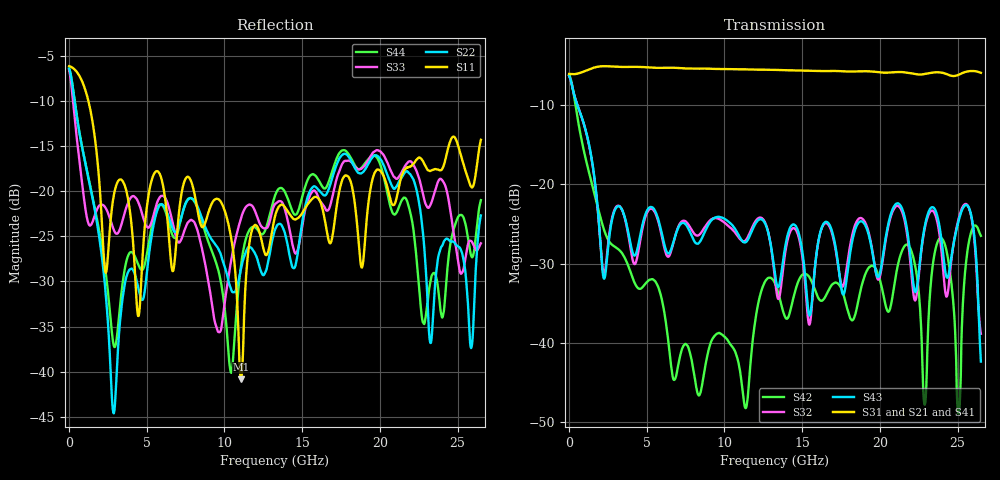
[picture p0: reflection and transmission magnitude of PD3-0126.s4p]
! MARKI MICROWAVE INC.
! Email:  info@markimicrowave.com  Phone:  408-778-4200
! Model Number:  PD3-0126  Date:  10/12
! Filename:		PD3_0126.S4P  Version: 1.0
! Description:  4-port S-parameter data for Power Divider PD3-0126
! Frequency Range: 	10 MHz to 26.5 GHz
! Port Configuration:	PORT 1: Common,
!  PORT 2, PORT 3, PORT 4: Output
! S4P File: Measurements: Mag<S11> Ang<S11> Mag<S12> Ang<S12> Mag<S13> Ang<S13> Mag<S14> Ang<S14>! row 1
!  Mag<S21> Ang<S21> Mag<S22> Ang<S22> Mag<S23> Ang<S23> Mag<S24> Ang<S24>! row 2
!  Mag<S31> Ang<S31> Mag<S32> Ang<S32> Mag<S33> Ang<S33> Mag<S34> Ang<S34>! row 3
!  Mag<S41> Ang<S41> Mag<S42> Ang<S42> Mag<S43> Ang<S43> Mag<S44> Ang<S44>! row 4
# Hz S  dB  R 50
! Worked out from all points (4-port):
!   801 points, 10 MHz to 26.5 GHz, reference 50 ohm
!   strongest paths, dB at 10 MHz, 6.633 GHz, 13.26 GHz, 19.88 GHz, 26.5 GHz:
!     S31: -6.1, -5.3, -5.6, -5.8, -5.9
!     S21: -6.0, -5.1, -5.6, -6.0, -6.6
!     S41: -6.0, -5.1, -5.6, -6.0, -6.5
!     S43: -6.3, -27.8, -31.3, -31.7, -42.4
!     S32: -6.3, -28.0, -32.0, -32.0, -38.9
!     S42: -6.2, -43.8, -32.5, -31.3, -26.5
!   lowest |S11| = -40.9 dB at 11.07 GHz (marker M1), VSWR 1.02, Z = 50.3 + j0.854 ohm
!   |S11| at or under -10 dB: 1.253 GHz to end of sweep
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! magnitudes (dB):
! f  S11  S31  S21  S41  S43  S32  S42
! 10 MHz  -6.1  -6.1  -6.0  -6.0  -6.3  -6.3  -6.2
! 2.858 GHz  -20.7  -5.1  -4.9  -5.0  -23.8  -23.6  -27.8
! 11.07 GHz  -40.9  -5.5  -5.4  -5.4  -26.9  -27.0  -44.5
! 22.89 GHz  -17.1  -6.1  -6.3  -6.2  -25.3  -25.5  -47.8
! 23.92 GHz  -17.7  -5.9  -6.2  -6.1  -26.3  -27.6  -26.8
! 25.08 GHz  -15.2  -6.2  -6.5  -6.4  -24.6  -24.3  -48.9
! 26.5 GHz  -14.3  -5.9  -6.6  -6.5  -42.4  -38.9  -26.5
